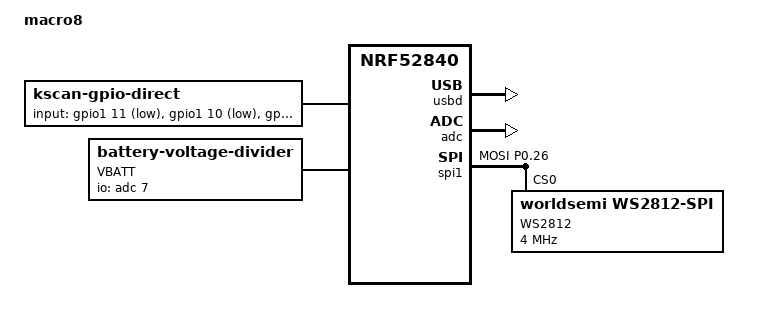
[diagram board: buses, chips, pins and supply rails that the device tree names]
/dts-v1/;
#include <nordic/nrf52840_qiaa.dtsi>
#include <zephyr/dt-bindings/pinctrl/nrf-pinctrl.h>

/ {
    model = "macro8";
    compatible = "zmk,macro8";

    chosen {
        zephyr,code-partition = &code_partition;
        zephyr,sram = &sram0;
        zephyr,flash = &flash0;
        zmk,battery = &vbatt;
        zmk,kscan = &kscan0;
        zmk,underglow = &led_strip;
    };

    kscan0: kscan {
        compatible = "zmk,kscan-gpio-direct";
        label = "KSCAN";
        input-gpios
            = <&gpio1 11 (GPIO_ACTIVE_LOW | GPIO_PULL_UP)>
            , <&gpio1 10 (GPIO_ACTIVE_LOW | GPIO_PULL_UP)>
            , <&gpio0  3 (GPIO_ACTIVE_LOW | GPIO_PULL_UP)>
            , <&gpio1 13 (GPIO_ACTIVE_LOW | GPIO_PULL_UP)>
            , <&gpio0 13 (GPIO_ACTIVE_LOW | GPIO_PULL_UP)>
            , <&gpio0 22 (GPIO_ACTIVE_LOW | GPIO_PULL_UP)>
            , <&gpio0 24 (GPIO_ACTIVE_LOW | GPIO_PULL_UP)>
            , <&gpio1  0 (GPIO_ACTIVE_LOW | GPIO_PULL_UP)>
            ;
    };

    vbatt: vbatt {
        compatible = "zmk,battery-voltage-divider";
        label = "VBATT";
        io-channels = <&adc 7>;
        output-ohms = <100000>;
        full-ohms = <200000>;
    };
};

&usbd {
    status = "okay";
    cdc_acm_uart0: cdc_acm_uart0 {
        compatible = "zephyr,cdc-acm-uart";
    };
};

&adc {
    status = "okay";
};

&gpio0 {
    status = "okay";
};

&gpio1 {
    status = "okay";
};

&pinctrl {
    spi1_default: spi1_default {
        group1 {
            psels = <NRF_PSEL(SPIM_MOSI, 0, 26)>;
        };
    };

    spi1_sleep: spi1_sleep {
        group1 {
            psels = <NRF_PSEL(SPIM_MOSI, 0, 26)>;
            low-power-enable;
        };
    };
};

&spi1 {
    compatible = "nordic,nrf-spim";
    status = "okay";
    pinctrl-0 = <&spi1_default>;
    pinctrl-1 = <&spi1_sleep>;
    pinctrl-names = "default", "sleep";

    led_strip: ws2812@0 {
        compatible = "worldsemi,ws2812-spi";
        label = "WS2812";
        reg = <0>;
        spi-max-frequency = <4000000>;
        chain-length = <1>;
        spi-one-frame  = <0x70>;
        spi-zero-frame = <0x40>;
        color-mapping  = <0 1 2>;
    };
};

&flash0 {
    partitions {
        compatible = "fixed-partitions";
        #address-cells = <1>;
        #size-cells    = <1>;

        sd_partition: partition@0 {
            label = "mbr";
            reg   = <0x00000000 0x00001000>;
        };
        code_partition: partition@1000 {
            label = "code";
            reg   = <0x00001000 0x000d3000>;
        };
        storage_partition: partition@d4000 {
            label = "storage";
            reg   = <0x000d4000 0x00020000>;
        };
        boot_partition: partition@f4000 {
            label = "adafruit_boot";
            reg   = <0x000f4000 0x0000c000>;
        };
    };
};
